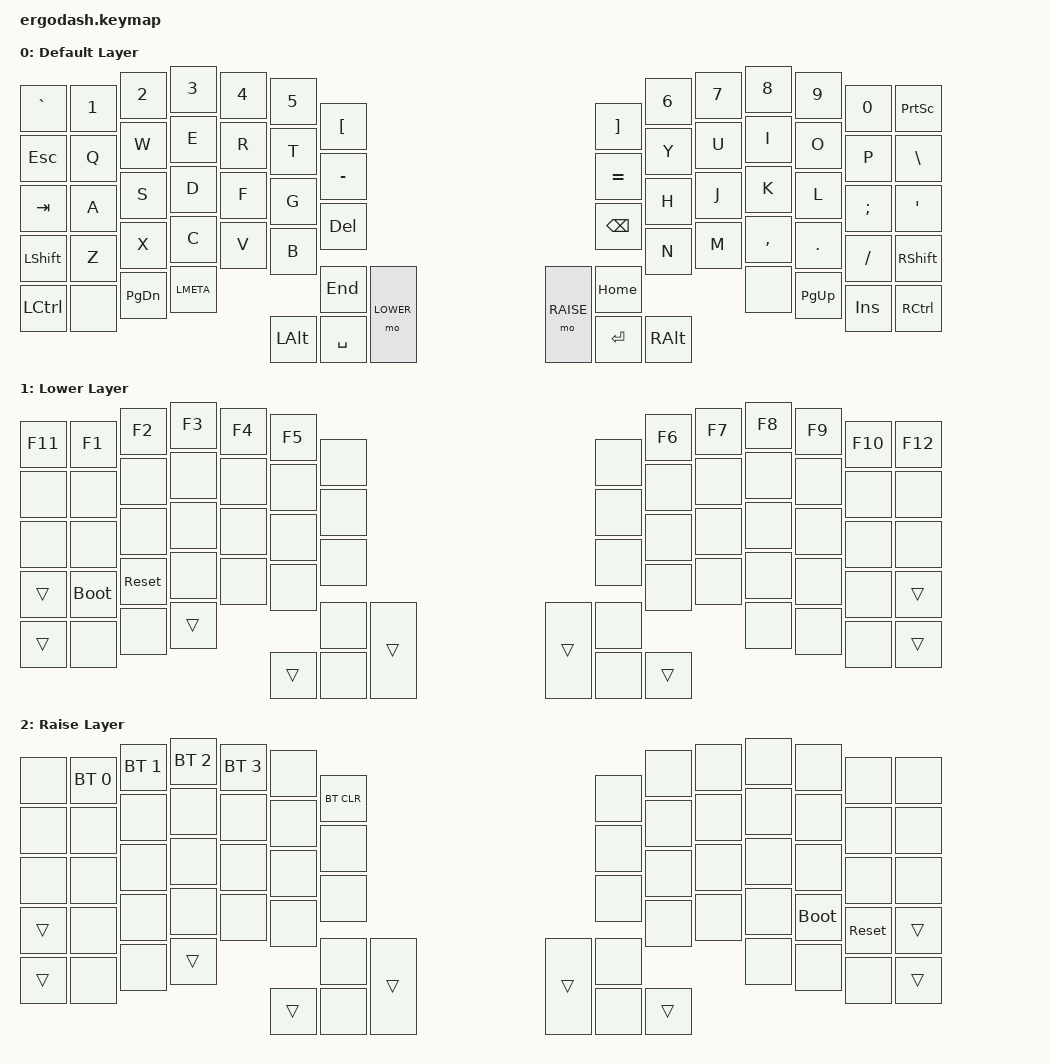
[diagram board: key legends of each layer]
/*
 * Copyright (c) 2020 The ZMK Contributors
 *
 * SPDX-License-Identifier: MIT
 */

#include <behaviors.dtsi>
#include <dt-bindings/zmk/keys.h>
#include <dt-bindings/zmk/bt.h>

#define DEFAULT 0
#define LOWER   1
#define RAISE   2


/ {
        keymap {
                compatible = "zmk,keymap";

                default_layer {
                        display-name = "Default Layer";
/* QWERTY
 * .----------------------------------------------------------------------------------------------------------------------.
 * |  `   |   1  |   2  |   3  |   4  |   5  |  [   |                    |  ]   |   6  |   7  |   8  |   9  |   0  | PScr |
 * |------+------+------+------+------+------+------+--------------------+------+------+------+------+------+------+------|
 * | ESC  |   Q  |   W  |   E  |   R  |   T  |  -   |                    |  =   |   Y  |   U  |   I  |   O  |   P  |  \   |
 * |------+------+------+------+------+------+------+--------------------+------+------+------+------+------+------+------|
 * | Tab  |   A  |   S  |   D  |   F  |   G  | Del  |                    | Bksp |   H  |   J  |   K  |   L  |   ;  |  '   |
 * |------+------+------+------+------+------+---------------------------+------+------+------+------+------+------+------|
 * | Shift|   Z  |   X  |   C  |   V  |   B  | End  |                    | Home |   N  |   M  |   ,  |   .  |   /  | Shift|
 * |-------------+------+------+------+------+------+------+------+------+------+------+------+------+------+-------------|
 * | Ctrl |      | PGDN | Win  |||||||| Alt  | Space| Lower|||||||| Raise| Enter| RAlt ||||||||      | PGUP | Ins  | RCtrl|
 * .----------------------------------------------------------------------------------------------------------------------.
 */
                        bindings = <
&kp  GRAVE    &kp  N1       &kp  N2       &kp  N3       &kp  N4       &kp  N5       &kp  LBKT              &kp  RBKT     &kp  N6       &kp  N7       &kp  N8       &kp  N9       &kp  N0       &kp  PSCRN
&kp  ESC      &kp  Q        &kp  W        &kp  E        &kp  R        &kp  T        &kp  MINUS             &kp  EQUAL    &kp  Y        &kp  U        &kp  I        &kp  O        &kp  P        &kp  BSLH
&kp  TAB      &kp  A        &kp  S        &kp  D        &kp  F        &kp  G        &kp  DEL               &kp  BSPC     &kp  H        &kp  J        &kp  K        &kp  L        &kp  SEMI     &kp  SQT
&kp  LSHFT    &kp  Z        &kp  X        &kp  C        &kp  V        &kp  B        &kp  END               &kp  HOME     &kp  N        &kp  M        &kp  COMMA    &kp  DOT      &kp  SLASH    &kp  RSHFT
&kp  LCTRL    &none         &kp  PG_DN    &kp  LMETA    &kp  LALT     &kp  SPACE    &mo  LOWER             &mo  RAISE    &kp  RET      &kp  RALT     &none         &kp  PG_UP    &kp  INS      &kp  RCTRL
                        >;
                };
                lower_layer {
                        display-name = "Lower Layer";
/* .----------------------------------------------------------------------------------------------------------------------.
 * |  F11 |  F1  |  F2  |  F3  |  F4  |  F5  |      |                    |      |  F6  |  F7  |  F8  |  F9  |  F10 |  F12 |
 * |------+------+------+------+------+------+------+--------------------+------+------+------+------+------+------+------|
 * |      |      |      |      |      |      |      |                    |      |      |      |      |      |      |      |
 * |------+------+------+------+------+------+------+--------------------+------+------+------+------+------+------+------|
 * |      |      |      |      |      |      |      |                    |      |      |      |      |      |      |      |
 * |------+------+------+------+------+------+---------------------------+------+------+------+------+------+------+------|
 * | Shift| Boot | Reset|      |      |      |      |                    |      |      |      |      |      |      | Shift|
 * |-------------+------+------+------+------+------+------+------+------+------+------+------+------+------+-------------|
 * | Ctlr |      |      |  Win |||||||| Alt  |      | Lower|||||||| Raise|      | RAlt ||||||||      |      |      | RCtrl|
 * .----------------------------------------------------------------------------------------------------------------------.
 */ /* FIXME boot and reset are not yet locale aware */
                        bindings = <
&kp  F11      &kp  F1       &kp  F2       &kp  F3       &kp  F4       &kp  F5       &none                  &none         &kp  F6       &kp  F7       &kp  F8       &kp  F9       &kp  F10      &kp  F12
&none         &none         &none         &none         &none         &none         &none                  &none         &none         &none         &none         &none         &none         &none
&none         &none         &none         &none         &none         &none         &none                  &none         &none         &none         &none         &none         &none         &none
&trans        &bootloader   &sys_reset        &none         &none         &none         &none                  &none         &none         &none         &none         &none         &none         &trans
&trans        &none         &none         &trans        &trans        &none         &trans                 &trans        &none         &trans        &none         &none         &none         &trans
                        >;
                };
                raise_layer {
                        display-name = "Raise Layer";
/* .----------------------------------------------------------------------------------------------------------------------.
 * |      | BT 0 | BT 1 | BT 2 | BT 3 |      | BTCL |                    |      |      |      |      |      |      |      |
 * |------+------+------+------+------+------+------+--------------------+------+------+------+------+------+------+------|
 * |      |      |      |      |      |      |      |                    |      |      |      |      |      |      |      |
 * |------+------+------+------+------+------+------+--------------------+------+------+------+------+------+------+------|
 * |      |      |      |      |      |      |      |                    |      |      |      |      |      |      |      |
 * |------+------+------+------+------+------+---------------------------+------+------+------+------+------+------+------|
 * | Shift|      |      |      |      |      |      |                    |      |      |      |      | Boot | Reset| Shift|
 * |-------------+------+------+------+------+------+------+------+------+------+------+------+------+------+-------------|
 * | Ctlr |      |      |  Win |||||||| Alt  |      | Lower|||||||| Raise|      | RAlt ||||||||      |      |      | RCtrl|
 * .----------------------------------------------------------------------------------------------------------------------.
 */ /* FIXME boot and reset are not yet locale aware */
                        bindings = <
&none         &bt BT_SEL 0  &bt BT_SEL 1  &bt BT_SEL 2  &bt BT_SEL 3  &none         &bt BT_CLR             &none         &none         &none         &none         &none         &none         &none
&none         &none         &none         &none         &none         &none         &none                  &none         &none         &none         &none         &none         &none         &none
&none         &none         &none         &none         &none         &none         &none                  &none         &none         &none         &none         &none         &none         &none
&trans        &none         &none         &none         &none         &none         &none                  &none         &none         &none         &none         &bootloader   &sys_reset        &trans
&trans        &none         &none         &trans        &trans        &none         &trans                 &trans        &none         &trans        &none         &none         &none         &trans
                        >;
                };
        };
};

